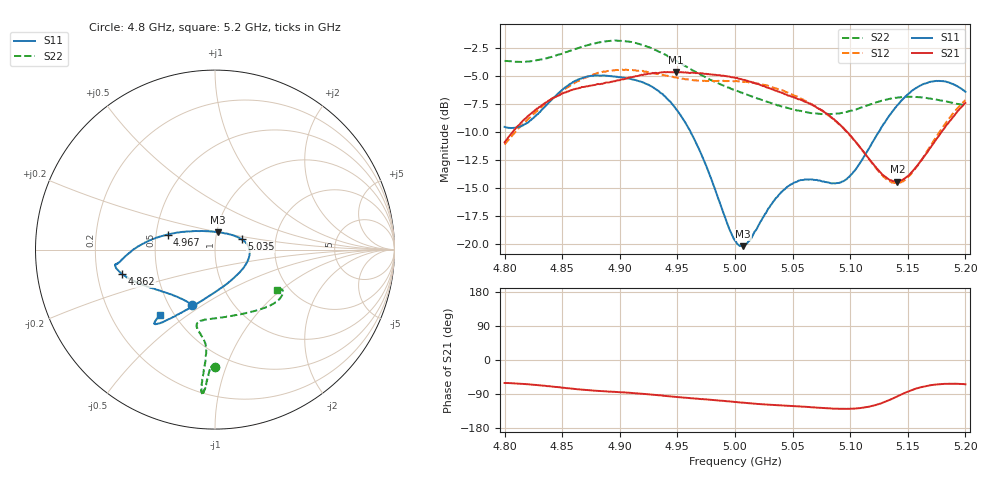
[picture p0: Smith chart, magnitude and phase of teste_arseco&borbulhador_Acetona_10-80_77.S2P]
! Network Analyzer HP8722D
! Hewlett-Packard
! Data name: Linha & Wilkinson
! Saver's name: Rodrigo Anjos
! Comments: Teste da utilização de aquisição
! continua pelo VNA HP8722D
! Time and date: 17/4/2025 15:00
!  Frequency  S11  S21  S12  S22
# HZ  S  MA R 50
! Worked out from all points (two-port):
!   401 points, 4.8 GHz to 5.2 GHz, reference 50 ohm
!   highest |S21| = -4.67 dB at 4.949 GHz (marker M1); lowest = -14.4 dB at 5.141 GHz (marker M2)
!   |S21| within 3 dB of the highest: 4.832 GHz to 5.068 GHz (236.6 MHz wide, 4.78 % of centre); 5.197783 GHz to end of sweep
!   lowest |S11| = -20.2 dB at 5.007 GHz (marker M3), VSWR 1.22, Z = 50.9 + j9.92 ohm
!   |S11| at or under -10 dB: 4.961 GHz to 5.125 GHz (163.3 MHz wide, 3.24 % of centre)
!   |S22| runs from -8.4 to -1.9 dB; largest |S21 - S12| = 0.87
!   S11 on the Smith chart (normalised r, x): 4.8 GHz: 0.65, -0.45; 4.862 GHz: 0.31, -0.12; 4.967 GHz: 0.57, +0.10; 5.035 GHz: 1.34, +0.16; 5.2 GHz: 0.42, -0.40
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4.8e9  0.3329 -112.9  0.2843 -60.6  0.2779 -174.8  0.6545 -89.8
4.819e9  0.3458 -132.8  0.3662 -63.8  0.3547 -173.3  0.6494 -91.3
4.862e9  0.535 -165.2  0.4921 -76.7  0.5263 -176.4  0.7409 -93.7
4.867e9  0.5477 -167.1  0.501 -78.3  0.5421 -177.4  0.7556 -93.9
4.902e9  0.5514 -171.9  0.5416 -85.3  0.5984 175.4  0.8025 -95.2
4.934e9  0.4795 -177.7  0.5786 -93.3  0.5724 172.0  0.7181 -95.5
4.949e9  0.3987 175.1  0.5842 -97.2  0.5523 172.3  0.6555 -95.2
4.967e9  0.2776 162.4  0.578 -102.0  0.535 174.1  0.579 -94.9
5e9  0.104 104.0  0.5505 -110.9  0.5319 176.5  0.4841 -99.0
5.007e9  0.09825 79.5  0.5389 -112.6  0.5281 176.3  0.4696 -100.6
5.013e9  0.1044 60.8  0.5287 -114.2  0.525 176.3  0.4579 -101.9
5.035e9  0.1595 21.6  0.4827 -118.9  0.4947 174.9  0.4192 -103.4
5.05e9  0.1864 6.0  0.453 -121.6  0.4625 174.3  0.4002 -99.7
5.067e9  0.1943 -12.1  0.4185 -124.9  0.4184 173.9  0.3836 -91.0
5.086e9  0.1871 -42.1  0.3598 -128.4  0.3577 173.7  0.3803 -76.8
5.097e9  0.1951 -64.9  0.317 -128.9  0.3172 174.7  0.3882 -67.6
5.134e9  0.374 -115.7  0.1938 -105.7  0.1912 -158.5  0.4435 -42.9
5.141e9  0.4159 -119.7  0.1904 -95.7  0.1873 -147.5  0.4496 -39.8
5.153e9  0.4794 -124.7  0.2086 -80.0  0.2062 -129.1  0.4529 -35.6
5.17e9  0.5287 -128.3  0.2708 -66.4  0.2764 -112.6  0.4446 -31.8
5.184e9  0.5272 -129.6  0.3413 -62.9  0.3528 -107.2  0.4316 -30.8
5.2e9  0.4768 -130.1  0.4254 -64.1  0.4379 -106.1  0.4148 -33.1
